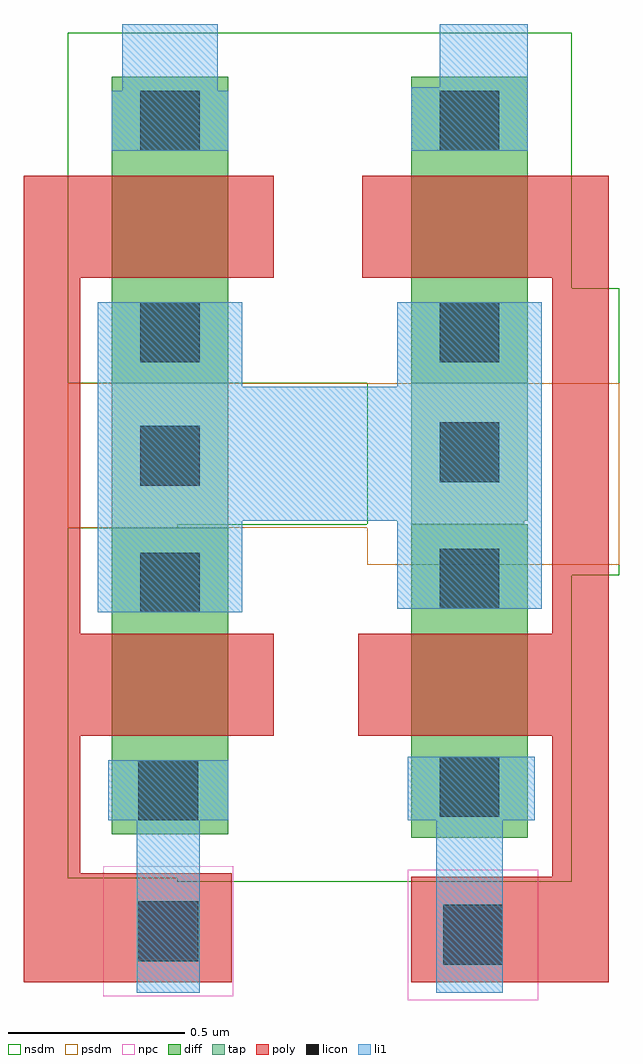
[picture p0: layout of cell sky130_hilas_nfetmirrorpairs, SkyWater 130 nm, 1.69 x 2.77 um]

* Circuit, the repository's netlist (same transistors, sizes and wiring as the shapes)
* Copyright 2020 The Hilas PDK Authors
* 
* This file is part of HILAS.
* 
* HILAS is free software: you can redistribute it and/or modify
* it under the terms of the GNU Lesser General Public License as published by
* the Free Software Foundation, version 3 of the License.
* 
* HILAS is distributed in the hope that it will be useful,
* but WITHOUT ANY WARRANTY; without even the implied warranty of
* MERCHANTABILITY or FITNESS FOR A PARTICULAR PURPOSE.  See the
* GNU Lesser General Public License for more details.
* 
* You should have received a copy of the GNU Lesser General Public License
* along with HILAS.  If not, see <https://www.gnu.org/licenses/>.
* 
* Licensed under the Lesser General Public License, Version 3.0 (the "License");
* you may not use this file except in compliance with the License.
* You may obtain a copy of the License at
* 
* https://www.gnu.org/licenses/lgpl-3.0.en.html
* 
* Unless required by applicable law or agreed to in writing, software
* distributed under the License is distributed on an "AS IS" BASIS,
* WITHOUT WARRANTIES OR CONDITIONS OF ANY KIND, either express or implied.
* See the License for the specific language governing permissions and
* limitations under the License.
* 
* SPDX-License-Identifier: LGPL-3.0
* 
* 

* NGSPICE file created from sky130_hilas_nFETmirrorPairs.ext - technology: sky130A


* Top level circuit sky130_hilas_nFETmirrorPairs

X0 a_n16_n180# a_n66_n378# a_n66_n378# a_n16_n180# sky130_fd_pr__nfet_01v8 w=330000u l=290000u
X1 a_n16_80# a_n66_n378# a_n16_n180# a_n16_n180# sky130_fd_pr__nfet_01v8 w=330000u l=290000u
X2 a_154_80# a_124_n238# a_n16_n180# a_n16_n180# sky130_fd_pr__nfet_01v8 w=330000u l=290000u
X3 a_n16_n180# a_124_n238# a_124_n238# a_n16_n180# sky130_fd_pr__nfet_01v8 w=330000u l=290000u
.end

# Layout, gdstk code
import gdstk
lib = gdstk.Library(unit=1e-6, precision=1e-09)
def R(c, l, rs):  # rectangles x0, y0, x1, y1
    for r in rs: c.add(gdstk.rectangle(r[:2], r[2:], *l))
diff = (65, 20)
tap = (65, 44)
poly = (66, 20)
licon = (66, 44)
li1 = (67, 20)
nsdm = (93, 44)
psdm = (94, 20)
npc = (95, 20)

sky130_hilas_nfetmirrorp = lib.new_cell('sky130_hilas_nfetmirrorpairs')
R(sky130_hilas_nfetmirrorp, diff, [(0.77,-1.48,1.1,-0.59), (-0.08,-1.47,0.25,-0.6), (-0.08,-0.19,0.25,0.68), (0.77,-0.19,1.1,0.68)])
R(sky130_hilas_nfetmirrorp, tap, [(-0.08,-0.6,0.25,-0.19), (0.77,-0.59,1.09,-0.58), (0.77,-0.58,1.1,-0.19)])
R(sky130_hilas_nfetmirrorp, poly, [(-0.33,-1.89,0.26,-1.58), (0.77,-1.89,1.33,-1.59), (1.17,-1.59,1.33,-1.19), (-0.33,-1.58,-0.17,-1.19), (-0.33,-1.19,0.38,-0.9), (0.62,-1.19,1.33,-0.9), (-0.33,-0.9,-0.17,0.11), (1.17,-0.9,1.33,0.11), (-0.33,0.11,0.38,0.4), (0.63,0.11,1.33,0.4)])
R(sky130_hilas_nfetmirrorp, licon, [(0.86,-1.84,1.03,-1.67), (-0.005,-1.83,0.165,-1.66), (-0.005,-1.43,0.165,-1.26), (0.85,-1.42,1.02,-1.25), (0,-0.84,0.17,-0.67), (0.85,-0.83,1.02,-0.66), (0,-0.48,0.17,-0.31), (0.85,-0.47,1.02,-0.3), (0,-0.13,0.17,0.04), (0.85,-0.13,1.02,0.04), (0,0.47,0.17,0.64), (0.85,0.47,1.02,0.64)])
R(sky130_hilas_nfetmirrorp, li1, [(-0.01,-1.92,0.17,-1.43), (0.84,-1.92,1.03,-1.43), (-0.09,-1.43,0.25,-1.26), (0.76,-1.43,1.12,-1.25), (-0.12,-0.84,0.29,-0.58), (0.73,-0.83,1.14,-0.58), (-0.12,-0.58,1.14,-0.2), (-0.12,-0.2,0.29,0.04), (0.73,-0.2,1.14,0.04), (-0.08,0.47,0.25,0.64), (0.77,0.47,1.1,0.65), (-0.05,0.64,0.22,0.83), (0.85,0.65,1.1,0.83)])
R(sky130_hilas_nfetmirrorp, nsdm, [(0.105,-1.605,1.225,-1.595), (-0.205,-1.595,1.225,-0.735), (-0.205,-0.735,1.36,-0.6), (0.105,-0.6,1.36,-0.59), (0.645,-0.59,1.36,-0.19), (-0.205,-0.19,1.36,0.08), (-0.205,0.08,1.225,0.805)])
R(sky130_hilas_nfetmirrorp, psdm, [(0.645,-0.705,1.36,-0.6), (-0.205,-0.6,1.36,-0.19)])
R(sky130_hilas_nfetmirrorp, npc, [(0.76,-1.94,1.13,-1.57), (-0.105,-1.93,0.265,-1.56)])

lib.write_gds('sky130_hilas_nfetmirrorpairs.gds')
